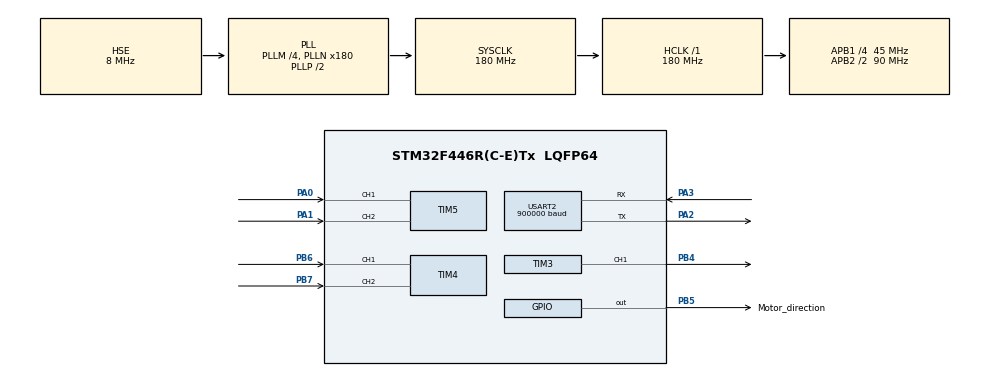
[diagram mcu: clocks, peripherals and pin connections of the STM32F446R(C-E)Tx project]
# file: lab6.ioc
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Mcu.Family=STM32F4
Mcu.Name=STM32F446R(C-E)Tx
Mcu.Package=LQFP64
NVIC.PriorityGroup=NVIC_PRIORITYGROUP_4
NVIC.TIM1_UP_TIM10_IRQn=true\:0\:0\:false\:false\:true\:true\:true\:true
NVIC.USART2_IRQn=true\:0\:0\:false\:false\:true\:true\:true\:true
PA0-WKUP.Signal=S_TIM5_CH1
PA1.Signal=S_TIM5_CH2
PA2.Mode=Asynchronous
PA2.Signal=USART2_TX
PA3.Mode=Asynchronous
PA3.Signal=USART2_RX
PB4.Signal=S_TIM3_CH1
PB5.GPIO_Label=Motor_direction
PB5.Signal=GPIO_Output
PB6.Signal=S_TIM4_CH1
PB7.Signal=S_TIM4_CH2
PH0-OSC_IN.Mode=HSE-External-Oscillator
PH0-OSC_IN.Signal=RCC_OSC_IN
PH1-OSC_OUT.Mode=HSE-External-Oscillator
PH1-OSC_OUT.Signal=RCC_OSC_OUT
ProjectManager.HeapSize=0x200
ProjectManager.StackSize=0x400
ProjectManager.TargetToolchain=STM32CubeIDE
RCC.AHBFreq_Value=180000000
RCC.APB1CLKDivider=RCC_HCLK_DIV4
RCC.APB1Freq_Value=45000000
RCC.APB1TimFreq_Value=90000000
RCC.APB2CLKDivider=RCC_HCLK_DIV2
RCC.APB2Freq_Value=90000000
RCC.APB2TimFreq_Value=180000000
RCC.CortexFreq_Value=180000000
RCC.HCLKFreq_Value=180000000
RCC.HSE_VALUE=8000000
RCC.PLLM=4
RCC.PLLN=180
RCC.PLLSourceVirtual=RCC_PLLSOURCE_HSE
RCC.SYSCLKFreq_VALUE=180000000
RCC.SYSCLKSource=RCC_SYSCLKSOURCE_PLLCLK
RCC.USBFreq_Value=180000000
RCC.VCOOutputFreq_Value=360000000
SH.S_TIM3_CH1.0=TIM3_CH1,PWM Generation1 CH1
SH.S_TIM4_CH1.0=TIM4_CH1,Encoder_Interface
SH.S_TIM4_CH2.0=TIM4_CH2,Encoder_Interface
SH.S_TIM5_CH1.0=TIM5_CH1,Encoder_Interface
SH.S_TIM5_CH2.0=TIM5_CH2,Encoder_Interface
TIM1.Period=999
TIM1.Prescaler=179
TIM3.Channel-PWM\ Generation1\ CH1=TIM_CHANNEL_1
TIM3.Period=99
TIM3.Prescaler=899
TIM4.EncoderMode=TIM_ENCODERMODE_TI12
TIM5.EncoderMode=TIM_ENCODERMODE_TI12
TIM5.IC1Filter=8
TIM5.IC2Filter=8
USART2.BaudRate=900000
USART2.VirtualMode=VM_ASYNC
VP_TIM1_VS_ClockSourceINT.Mode=Internal
VP_TIM3_VS_ClockSourceINT.Mode=Internal
board=custom

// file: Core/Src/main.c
/* USER CODE BEGIN Header */
/**
  ******************************************************************************
  * @file           : main.c
  * @brief          : Main program body
  ******************************************************************************
  * @attention
  *
  * Copyright (c) 2024 STMicroelectronics.
  * All rights reserved.
  *
  * This software is licensed under terms that can be found in the LICENSE file
  * in the root directory of this software component.
  * If no LICENSE file comes with this software, it is provided AS-IS.
  *
  ******************************************************************************
  */
/* USER CODE END Header */
#include "main.h"

/* USER CODE BEGIN PD */
#define PID_FREQ 1000
#define PWM_MIN 0
#define PWM_MAX 100
#define DEADZONE 0.01f
#define ENCODER_MIDPOINT 32767
#define ENCODER_MAX_VALUE 100
#define MOTOR_MIDPOINT 2147483647
#define MOTOR_MAX_VEL 3.0f //encoder tics
#define SPEED_FILTER_WINDOW 100
#define INTEGRAL_LIMIT 1000
#define D_FILTER_ALPHA 1
/* USER CODE END PD */

TIM_HandleTypeDef htim1;
TIM_HandleTypeDef htim3;
TIM_HandleTypeDef htim4;
TIM_HandleTypeDef htim5;

UART_HandleTypeDef huart2;

/* USER CODE BEGIN PV */
typedef struct __attribute__((packed)){
	uint8_t header[2];
	float speed[2];
	uint32_t control;
	uint8_t terminator[2];
} SimulinkPacket;

SimulinkPacket simulink_packet;

uint16_t current_encoder_count = 0;
uint32_t current_motor_count = 0;

float speed = 0;
float target = 0;

typedef struct {
	float error;
	float prev_error;
	float filtered_error;
	float integral;
	float derivative;
	float kp;
	float ki;
	float kd;
	float raw_output;
	float output;
} PID;

PID pid = {
	0.0f,
	0.0f,
	0.0f,
	0.0f,
	0.0f,
	12.0f, //Kp
	30.0f, //Ki
	0.0f, //Kd
	0.0f,
	0.0f
};

float speed_buffer[SPEED_FILTER_WINDOW] = {0};
uint8_t buffer_index = 0;
float speed_sum = 0.0f;

/* USER CODE END PV */

void SystemClock_Config(void);
static void MX_GPIO_Init(void);
static void MX_USART2_UART_Init(void);
static void MX_TIM1_Init(void);
static void MX_TIM3_Init(void);
static void MX_TIM5_Init(void);
static void MX_TIM4_Init(void);
/* USER CODE BEGIN PFP */
void update_PID();
/* USER CODE END PFP */

int main(void)
{

  /* MCU Configuration--------------------------------------------------------*/

  /* Reset of all peripherals, Initializes the Flash interface and the Systick. */
  HAL_Init();

  /* Configure the system clock */
  SystemClock_Config();

  /* Initialize all configured peripherals */
  MX_GPIO_Init();
  MX_USART2_UART_Init();
  MX_TIM1_Init();
  MX_TIM3_Init();
  MX_TIM5_Init();
  MX_TIM4_Init();
  /* USER CODE BEGIN 2 */
  HAL_TIM_PWM_Start(&htim3, TIM_CHANNEL_1);
  HAL_TIM_Encoder_Start(&htim5, TIM_CHANNEL_ALL);
  __HAL_TIM_SET_COUNTER(&htim5, MOTOR_MIDPOINT);
  HAL_TIM_Encoder_Start(&htim4, TIM_CHANNEL_ALL);
  __HAL_TIM_SET_COUNTER(&htim4, ENCODER_MIDPOINT);
  HAL_TIM_Base_Start_IT(&htim1);
  simulink_packet.header[0] = 0xAA;
  simulink_packet.header[1] = 0xBB;
  simulink_packet.terminator[0] = 0xCC;
  simulink_packet.terminator[1] = 0xDD;
  /* USER CODE END 2 */

  /* Infinite loop */
  while (1)
  {

  }
}

void SystemClock_Config(void)
{
  RCC_OscInitTypeDef RCC_OscInitStruct = {0};
  RCC_ClkInitTypeDef RCC_ClkInitStruct = {0};

  /** Configure the main internal regulator output voltage
  */
  __HAL_RCC_PWR_CLK_ENABLE();
  __HAL_PWR_VOLTAGESCALING_CONFIG(PWR_REGULATOR_VOLTAGE_SCALE1);

  /** Initializes the RCC Oscillators according to the specified parameters
  * in the RCC_OscInitTypeDef structure.
  */
  RCC_OscInitStruct.OscillatorType = RCC_OSCILLATORTYPE_HSE;
  RCC_OscInitStruct.HSEState = RCC_HSE_ON;
  RCC_OscInitStruct.PLL.PLLState = RCC_PLL_ON;
  RCC_OscInitStruct.PLL.PLLSource = RCC_PLLSOURCE_HSE;
  RCC_OscInitStruct.PLL.PLLM = 4;
  RCC_OscInitStruct.PLL.PLLN = 180;
  RCC_OscInitStruct.PLL.PLLP = RCC_PLLP_DIV2;
  RCC_OscInitStruct.PLL.PLLQ = 2;
  RCC_OscInitStruct.PLL.PLLR = 2;
  if (HAL_RCC_OscConfig(&RCC_OscInitStruct) != HAL_OK)
  {
    Error_Handler();
  }

  /** Activate the Over-Drive mode
  */
  if (HAL_PWREx_EnableOverDrive() != HAL_OK)
  {
    Error_Handler();
  }

  /** Initializes the CPU, AHB and APB buses clocks
  */
  RCC_ClkInitStruct.ClockType = RCC_CLOCKTYPE_HCLK|RCC_CLOCKTYPE_SYSCLK
                              |RCC_CLOCKTYPE_PCLK1|RCC_CLOCKTYPE_PCLK2;
  RCC_ClkInitStruct.SYSCLKSource = RCC_SYSCLKSOURCE_PLLCLK;
  RCC_ClkInitStruct.AHBCLKDivider = RCC_SYSCLK_DIV1;
  RCC_ClkInitStruct.APB1CLKDivider = RCC_HCLK_DIV4;
  RCC_ClkInitStruct.APB2CLKDivider = RCC_HCLK_DIV2;

  if (HAL_RCC_ClockConfig(&RCC_ClkInitStruct, FLASH_LATENCY_5) != HAL_OK)
  {
    Error_Handler();
  }
}

static void MX_TIM1_Init(void)
{

  TIM_ClockConfigTypeDef sClockSourceConfig = {0};
  TIM_MasterConfigTypeDef sMasterConfig = {0};

  htim1.Instance = TIM1;
  htim1.Init.Prescaler = 179;
  htim1.Init.CounterMode = TIM_COUNTERMODE_UP;
  htim1.Init.Period = 999;
  htim1.Init.ClockDivision = TIM_CLOCKDIVISION_DIV1;
  htim1.Init.RepetitionCounter = 0;
  htim1.Init.AutoReloadPreload = TIM_AUTORELOAD_PRELOAD_DISABLE;
  if (HAL_TIM_Base_Init(&htim1) != HAL_OK)
  {
    Error_Handler();
  }
  sClockSourceConfig.ClockSource = TIM_CLOCKSOURCE_INTERNAL;
  if (HAL_TIM_ConfigClockSource(&htim1, &sClockSourceConfig) != HAL_OK)
  {
    Error_Handler();
  }
  sMasterConfig.MasterOutputTrigger = TIM_TRGO_RESET;
  sMasterConfig.MasterSlaveMode = TIM_MASTERSLAVEMODE_DISABLE;
  if (HAL_TIMEx_MasterConfigSynchronization(&htim1, &sMasterConfig) != HAL_OK)
  {
    Error_Handler();
  }

}

static void MX_TIM3_Init(void)
{

  TIM_ClockConfigTypeDef sClockSourceConfig = {0};
  TIM_MasterConfigTypeDef sMasterConfig = {0};
  TIM_OC_InitTypeDef sConfigOC = {0};

  htim3.Instance = TIM3;
  htim3.Init.Prescaler = 899;
  htim3.Init.CounterMode = TIM_COUNTERMODE_UP;
  htim3.Init.Period = 99;
  htim3.Init.ClockDivision = TIM_CLOCKDIVISION_DIV1;
  htim3.Init.AutoReloadPreload = TIM_AUTORELOAD_PRELOAD_DISABLE;
  if (HAL_TIM_Base_Init(&htim3) != HAL_OK)
  {
    Error_Handler();
  }
  sClockSourceConfig.ClockSource = TIM_CLOCKSOURCE_INTERNAL;
  if (HAL_TIM_ConfigClockSource(&htim3, &sClockSourceConfig) != HAL_OK)
  {
    Error_Handler();
  }
  if (HAL_TIM_PWM_Init(&htim3) != HAL_OK)
  {
    Error_Handler();
  }
  sMasterConfig.MasterOutputTrigger = TIM_TRGO_RESET;
  sMasterConfig.MasterSlaveMode = TIM_MASTERSLAVEMODE_DISABLE;
  if (HAL_TIMEx_MasterConfigSynchronization(&htim3, &sMasterConfig) != HAL_OK)
  {
    Error_Handler();
  }
  sConfigOC.OCMode = TIM_OCMODE_PWM1;
  sConfigOC.Pulse = 0;
  sConfigOC.OCPolarity = TIM_OCPOLARITY_HIGH;
  sConfigOC.OCFastMode = TIM_OCFAST_DISABLE;
  if (HAL_TIM_PWM_ConfigChannel(&htim3, &sConfigOC, TIM_CHANNEL_1) != HAL_OK)
  {
    Error_Handler();
  }
  HAL_TIM_MspPostInit(&htim3);

}

static void MX_TIM4_Init(void)
{

  TIM_Encoder_InitTypeDef sConfig = {0};
  TIM_MasterConfigTypeDef sMasterConfig = {0};

  htim4.Instance = TIM4;
  htim4.Init.Prescaler = 0;
  htim4.Init.CounterMode = TIM_COUNTERMODE_UP;
  htim4.Init.Period = 65535;
  htim4.Init.ClockDivision = TIM_CLOCKDIVISION_DIV1;
  htim4.Init.AutoReloadPreload = TIM_AUTORELOAD_PRELOAD_DISABLE;
  sConfig.EncoderMode = TIM_ENCODERMODE_TI12;
  sConfig.IC1Polarity = TIM_ICPOLARITY_RISING;
  sConfig.IC1Selection = TIM_ICSELECTION_DIRECTTI;
  sConfig.IC1Prescaler = TIM_ICPSC_DIV1;
  sConfig.IC1Filter = 0;
  sConfig.IC2Polarity = TIM_ICPOLARITY_RISING;
  sConfig.IC2Selection = TIM_ICSELECTION_DIRECTTI;
  sConfig.IC2Prescaler = TIM_ICPSC_DIV1;
  sConfig.IC2Filter = 0;
  if (HAL_TIM_Encoder_Init(&htim4, &sConfig) != HAL_OK)
  {
    Error_Handler();
  }
  sMasterConfig.MasterOutputTrigger = TIM_TRGO_RESET;
  sMasterConfig.MasterSlaveMode = TIM_MASTERSLAVEMODE_DISABLE;
  if (HAL_TIMEx_MasterConfigSynchronization(&htim4, &sMasterConfig) != HAL_OK)
  {
    Error_Handler();
  }

}

static void MX_TIM5_Init(void)
{

  TIM_Encoder_InitTypeDef sConfig = {0};
  TIM_MasterConfigTypeDef sMasterConfig = {0};

  htim5.Instance = TIM5;
  htim5.Init.Prescaler = 0;
  htim5.Init.CounterMode = TIM_COUNTERMODE_UP;
  htim5.Init.Period = 4294967295;
  htim5.Init.ClockDivision = TIM_CLOCKDIVISION_DIV1;
  htim5.Init.AutoReloadPreload = TIM_AUTORELOAD_PRELOAD_DISABLE;
  sConfig.EncoderMode = TIM_ENCODERMODE_TI12;
  sConfig.IC1Polarity = TIM_ICPOLARITY_RISING;
  sConfig.IC1Selection = TIM_ICSELECTION_DIRECTTI;
  sConfig.IC1Prescaler = TIM_ICPSC_DIV1;
  sConfig.IC1Filter = 8;
  sConfig.IC2Polarity = TIM_ICPOLARITY_RISING;
  sConfig.IC2Selection = TIM_ICSELECTION_DIRECTTI;
  sConfig.IC2Prescaler = TIM_ICPSC_DIV1;
  sConfig.IC2Filter = 8;
  if (HAL_TIM_Encoder_Init(&htim5, &sConfig) != HAL_OK)
  {
    Error_Handler();
  }
  sMasterConfig.MasterOutputTrigger = TIM_TRGO_RESET;
  sMasterConfig.MasterSlaveMode = TIM_MASTERSLAVEMODE_DISABLE;
  if (HAL_TIMEx_MasterConfigSynchronization(&htim5, &sMasterConfig) != HAL_OK)
  {
    Error_Handler();
  }

}

static void MX_USART2_UART_Init(void)
{

  huart2.Instance = USART2;
  huart2.Init.BaudRate = 900000;
  huart2.Init.WordLength = UART_WORDLENGTH_8B;
  huart2.Init.StopBits = UART_STOPBITS_1;
  huart2.Init.Parity = UART_PARITY_NONE;
  huart2.Init.Mode = UART_MODE_TX_RX;
  huart2.Init.HwFlowCtl = UART_HWCONTROL_NONE;
  huart2.Init.OverSampling = UART_OVERSAMPLING_16;
  if (HAL_UART_Init(&huart2) != HAL_OK)
  {
    Error_Handler();
  }

}

static void MX_GPIO_Init(void)
{
  GPIO_InitTypeDef GPIO_InitStruct = {0};

  /* GPIO Ports Clock Enable */
  __HAL_RCC_GPIOH_CLK_ENABLE();
  __HAL_RCC_GPIOA_CLK_ENABLE();
  __HAL_RCC_GPIOB_CLK_ENABLE();

  /*Configure GPIO pin Output Level */
  HAL_GPIO_WritePin(Motor_direction_GPIO_Port, Motor_direction_Pin, GPIO_PIN_RESET);

  /*Configure GPIO pin : Motor_direction_Pin */
  GPIO_InitStruct.Pin = Motor_direction_Pin;
  GPIO_InitStruct.Mode = GPIO_MODE_OUTPUT_PP;
  GPIO_InitStruct.Pull = GPIO_NOPULL;
  GPIO_InitStruct.Speed = GPIO_SPEED_FREQ_LOW;
  HAL_GPIO_Init(Motor_direction_GPIO_Port, &GPIO_InitStruct);

}

/* USER CODE BEGIN 4 */
void update_PID() {
    pid.error = speed - target;

    pid.filtered_error = D_FILTER_ALPHA * pid.error + (1.0 - D_FILTER_ALPHA) * pid.filtered_error;

    if (pid.error != 0) {
        pid.integral += pid.error / PID_FREQ;
        if (pid.integral > INTEGRAL_LIMIT) {
            pid.integral = INTEGRAL_LIMIT;
        } else if (pid.integral < -INTEGRAL_LIMIT) {
            pid.integral = -INTEGRAL_LIMIT;
        }
    }
    else if (target == 0){
    	pid.integral = 0;
    }

    pid.derivative = (pid.filtered_error - pid.prev_error) * PID_FREQ;
    pid.prev_error = pid.filtered_error;

    pid.raw_output = (pid.kp * pid.error + pid.ki * pid.integral + pid.kd * pid.derivative);

    pid.prev_error = pid.error;
}

void set_control(){
	if (pid.raw_output == 0) {
		pid.output = pid.raw_output;
		__HAL_TIM_SET_COMPARE(&htim3, TIM_CHANNEL_1, (uint32_t)(pid.output));
	}
	else{
		if (pid.raw_output > 0) {
			HAL_GPIO_WritePin(Motor_direction_GPIO_Port, Motor_direction_Pin, GPIO_PIN_SET);
			pid.output = pid.raw_output;
		} else {
			HAL_GPIO_WritePin(Motor_direction_GPIO_Port, Motor_direction_Pin, GPIO_PIN_RESET);
			pid.output = -pid.raw_output;
		}

		if (pid.output > PWM_MAX) pid.output = PWM_MAX;
		if (pid.output < PWM_MIN) pid.output = PWM_MIN;

		__HAL_TIM_SET_COMPARE(&htim3, TIM_CHANNEL_1, (uint32_t)(pid.output));
	}
}

void update_encoder_position() {
	current_encoder_count = __HAL_TIM_GET_COUNTER(&htim4);

	if (current_encoder_count < ENCODER_MIDPOINT - ENCODER_MAX_VALUE){
		current_encoder_count = ENCODER_MIDPOINT - ENCODER_MAX_VALUE;
		__HAL_TIM_SET_COUNTER(&htim4, ENCODER_MIDPOINT - ENCODER_MAX_VALUE);
	}
	else if (current_encoder_count > ENCODER_MIDPOINT + ENCODER_MAX_VALUE){
		current_encoder_count = ENCODER_MIDPOINT + ENCODER_MAX_VALUE;
		__HAL_TIM_SET_COUNTER(&htim4, ENCODER_MIDPOINT + ENCODER_MAX_VALUE);
	}
}

void update_motor_speed() {
    current_motor_count = __HAL_TIM_GET_COUNTER(&htim5);

    float instant_speed;
    if (current_motor_count > MOTOR_MIDPOINT) {
        instant_speed = (float)(current_motor_count - MOTOR_MIDPOINT);
    } else {
        instant_speed = - (float)(MOTOR_MIDPOINT - current_motor_count);
    }

    __HAL_TIM_SET_COUNTER(&htim5, MOTOR_MIDPOINT);

    speed_buffer[buffer_index++] = instant_speed;
    if (buffer_index >= SPEED_FILTER_WINDOW) {
        buffer_index = 0;
    }

    float speed_sum = 0.0f;
    for (uint8_t i = 0; i < SPEED_FILTER_WINDOW; i++) {
        speed_sum += speed_buffer[i];
    }

    speed = speed_sum / SPEED_FILTER_WINDOW;
}

void update_target(){
	target = (((float) current_encoder_count) - ENCODER_MIDPOINT) / ENCODER_MAX_VALUE * MOTOR_MAX_VEL;
}

void HAL_TIM_PeriodElapsedCallback(TIM_HandleTypeDef *htim) {
    if (htim->Instance == TIM1) {

    	update_encoder_position();
    	update_motor_speed();
    	update_target();

    	update_PID();

    	set_control();

    	simulink_packet.speed[0] = target;
    	simulink_packet.speed[1] = speed;
    	simulink_packet.control = (uint32_t) pid.output;
    	HAL_UART_Transmit_IT(&huart2, (uint8_t*) &simulink_packet, sizeof(SimulinkPacket));
    }
}
/* USER CODE END 4 */

void Error_Handler(void)
{
  __disable_irq();
  while (1)
  {
  }
}
